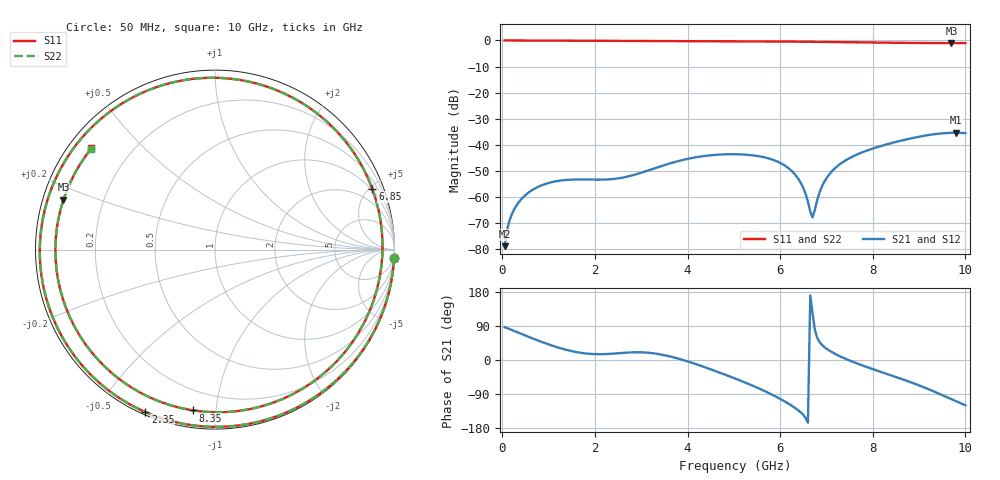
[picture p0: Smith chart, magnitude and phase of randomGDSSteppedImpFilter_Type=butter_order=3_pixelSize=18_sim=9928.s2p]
! freq	dB(S11)	phase(S11)	dB(S12)	phase(S12)
!  dB(S21)	phase(S21)	dB(S22)	phase(S22)
!S-par simulation data
#  GHz  S  DB  R 50
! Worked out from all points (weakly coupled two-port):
!   200 points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, 50 MHz to 10 GHz, reference 50 ohm
!   highest |S21| = -35.35 dB at 9.8 GHz (marker M1); lowest = -78.7 dB at 50 MHz (marker M2)
!   lowest |S11| = -1.0 dB at 9.7 GHz (marker M3), VSWR 17.01, Z = 3.01 + j8.01 ohm
!   |S11| at or under -10 dB: nowhere
!   |S22| runs from -1.0 to 0.0 dB; largest |S21 - S12| = 0
!   S11 on the Smith chart (normalised r, x): 50 MHz: 1, -43; 2.35 GHz: 0.01, -0.66; 6.85 GHz: 0.91, +5.23; 8.35 GHz: 0.09, -0.87; 10 GHz: 0.07, +0.36
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0.05  -0.01 -2.7  -78.75 86.4  -78.75 86.4  -0.01 -2.7
0.2  -0.02 -10.4  -66.77 79.5  -66.77 79.5  -0.02 -10.4
0.5  -0.03 -25.9  -59.19 64.5  -59.19 64.5  -0.03 -25.9
1.15  -0.07 -58.4  -53.93 35.0  -53.93 35.0  -0.07 -58.5
1.75  -0.10 -86.7  -53.22 18.0  -53.22 18.0  -0.10 -86.7
2.35  -0.13 -113.2  -53.11 16.5  -53.11 16.5  -0.13 -113.3
3.4  -0.18 -157.1  -48.28 15.1  -48.28 15.1  -0.18 -157.1
4.25  -0.23 167.4  -44.52 -13.8  -44.52 -13.8  -0.23 167.3
5.05  -0.29 130.8  -43.56 -49.9  -43.56 -49.9  -0.29 130.8
5.65  -0.36 99.4  -44.69 -81.1  -44.69 -81.1  -0.36 99.4
6.2  -0.43 66.3  -49.18 -116.8  -49.18 -116.8  -0.43 66.3
6.5  -0.48 46.3  -56.46 -145.0  -56.46 -145.0  -0.48 46.3
6.7  -0.51 32.1  -67.74 123.0  -67.74 123.0  -0.51 32.1
6.85  -0.54 21.0  -58.21 47.6  -58.21 47.6  -0.54 21.1
7.1  -0.59 2.0  -50.45 22.1  -50.45 22.1  -0.59 2.0
7.5  -0.68 -29.7  -45.02 -1.4  -45.02 -1.4  -0.68 -29.6
7.95  -0.79 -65.9  -41.68 -22.0  -41.68 -22.0  -0.79 -65.9
8.35  -0.87 -97.8  -39.54 -38.6  -39.54 -38.6  -0.87 -97.7
9.05  -0.99 -151.2  -36.67 -69.4  -36.67 -69.4  -0.99 -151.1
9.7  -1.02 161.7  -35.37 -103.4  -35.37 -103.4  -1.02 161.9
9.8  -1.02 154.7  -35.35 -108.9  -35.35 -108.9  -1.02 154.8
10  -1.01 140.7  -35.47 -119.5  -35.47 -119.5  -1.01 140.9
